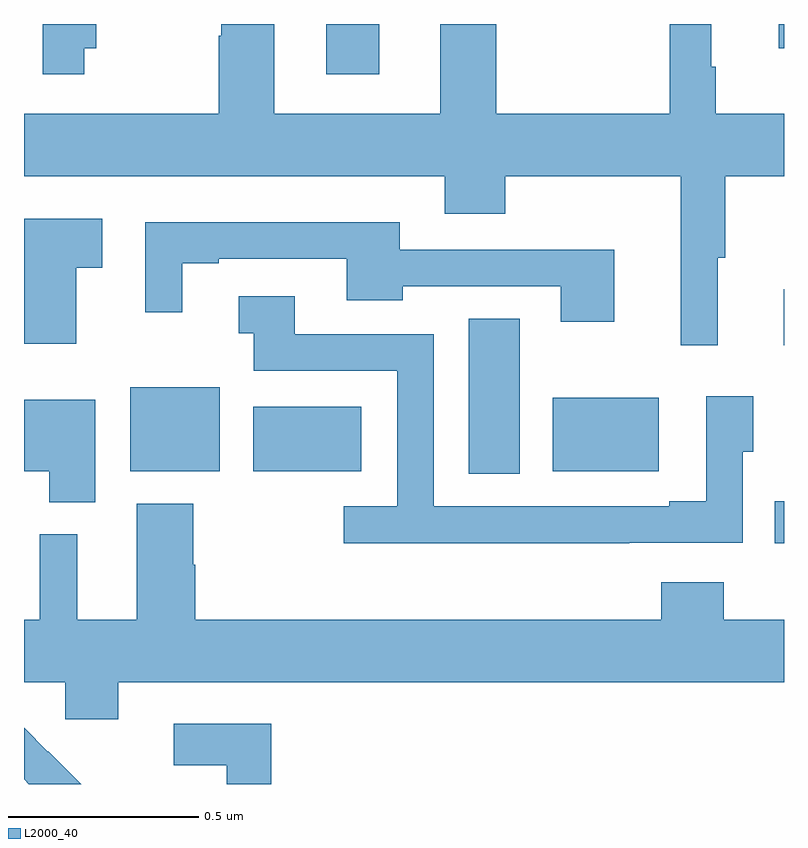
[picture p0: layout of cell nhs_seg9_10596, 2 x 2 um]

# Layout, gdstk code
import gdstk
lib = gdstk.Library(unit=1e-6, precision=1e-09)
def R(c, l, rs):  # rectangles x0, y0, x1, y1
    for r in rs: c.add(gdstk.rectangle(r[:2], r[2:], *l))
def P(c, l, *ps):  # polygons
    for p in ps: c.add(gdstk.Polygon(p, *l))
L2000_40 = (2000, 40)

nhs_seg9_10596 = lib.new_cell('nhs_seg9_10596')
R(nhs_seg9_10596, L2000_40, [(246.976,1182.134,247,1182.244), (246.17,1182.316,246.304,1182.725), (245.279,1182.323,245.515,1182.544), (245.603,1182.323,245.887,1182.493), (246.392,1182.323,246.67,1182.517), (246.999,1182.655,247,1182.802), (245.795,1183.368,245.935,1183.5), (246.986,1183.436,247,1183.5)])
P(nhs_seg9_10596, L2000_40, [(246.826,1182.885),(246.845,1182.885),(246.845,1183.1),(247,1183.1),(247,1183.264),(246.82,1183.264),(246.82,1183.388),(246.808,1183.388),(246.808,1183.5),(246.699,1183.5),(246.699,1183.264),(246.243,1183.264),(246.243,1183.5),(246.095,1183.5),(246.095,1183.264),(245.659,1183.264),(245.659,1183.5),(245.519,1183.5),(245.519,1183.469),(245.512,1183.469),(245.512,1183.264),(245,1183.264),(245,1183.1),(246.107,1183.1),(246.107,1183.001),(246.267,1183.001),(246.267,1183.1),(246.728,1183.1),(246.728,1182.654),(246.826,1182.654)],
  [(245.158,1183.436),(245.19,1183.436),(245.19,1183.5),(245.049,1183.5),(245.049,1183.368),(245.158,1183.368)],
  [(245.137,1182.859),(245.206,1182.859),(245.206,1182.988),(245,1182.988),(245,1182.659),(245.137,1182.659)],
  [(246.553,1182.906),(245.989,1182.906),(245.989,1182.978),(245.319,1182.978),(245.319,1182.741),(245.416,1182.741),(245.416,1182.87),(245.512,1182.87),(245.512,1182.882),(245.849,1182.882),(245.849,1182.773),(245.997,1182.773),(245.997,1182.81),(246.413,1182.81),(246.413,1182.717),(246.553,1182.717)],
  [(246.593,1182.135),(246.891,1182.135),(246.891,1182.375),(246.919,1182.375),(246.919,1182.52),(246.795,1182.52),(246.795,1182.244),(246.698,1182.244),(246.698,1182.231),(246.078,1182.231),(246.078,1182.684),(245.713,1182.684),(245.713,1182.783),(245.565,1182.783),(245.565,1182.686),(245.604,1182.686),(245.604,1182.588),(245.982,1182.588),(245.982,1182.231),(245.841,1182.231),(245.841,1182.134),(246.593,1182.134)],
  [(245.188,1182.511),(245,1182.511),(245,1182.323),(245.066,1182.323),(245.066,1182.242),(245.188,1182.242)],
  [(245.248,1181.768),(247,1181.768),(247,1181.932),(246.842,1181.932),(246.842,1182.031),(246.677,1182.031),(246.677,1181.932),(245.45,1181.932),(245.45,1182.077),(245.445,1182.077),(245.445,1182.238),(245.297,1182.238),(245.297,1181.932),(245.14,1181.932),(245.14,1182.157),(245.042,1182.157),(245.042,1181.932),(245,1181.932),(245,1181.768),(245.109,1181.768),(245.109,1181.67),(245.248,1181.67)],
  [(245.651,1181.658),(245.394,1181.658),(245.394,1181.55),(245.534,1181.55),(245.534,1181.5),(245.651,1181.5)],
  [(245.064,1181.586),(245.063,1181.585),(245,1181.648),(245,1181.512),(245.012,1181.5),(245.15,1181.5)])

lib.write_gds('nhs_seg9_10596.gds')
